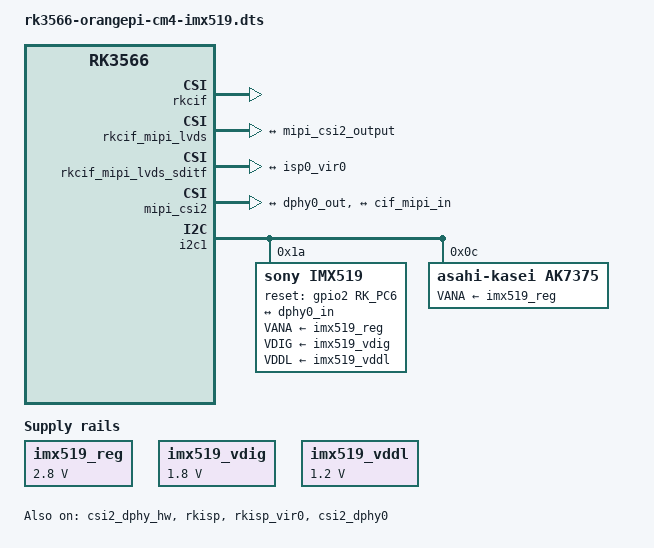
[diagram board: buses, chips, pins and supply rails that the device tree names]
// SPDX-License-Identifier: (GPL-2.0+ OR MIT)
/*
* Copyright (c) 2020 Rockchip Electronics Co., Ltd.
*
*/
/dts-v1/;

#include "rk3566-orangepi-cm4.dtsi"

/ {
    imx519_reg: imx519-reg {
        compatible = "regulator-fixed";
        regulator-name = "imx519_reg";
        regulator-min-microvolt = <2800000>;
        regulator-max-microvolt = <2800000>;
    };

    imx519_vdig: imx519-vdig {
        compatible = "regulator-fixed";
        regulator-name = "imx519_vdig";
        regulator-min-microvolt = <1800000>;
        regulator-max-microvolt = <1800000>;
    };

    imx519_vddl: imx519-vddl {
        compatible = "regulator-fixed";
        regulator-name = "imx519_vddl";
        regulator-min-microvolt = <1200000>;
        regulator-max-microvolt = <1200000>;
    };

};

&csi2_dphy_hw {
    status = "okay";
};

&rkisp {
    status = "okay";
};

&rkisp_mmu {
    status = "okay";
};

&rkisp_vir0 {
	status = "okay";

	port {
		#address-cells = <1>;
		#size-cells = <0>;

		isp0_vir0: endpoint@0 {
			reg = <0>;
			remote-endpoint = <&mipi_lvds_sditf>;
		};
	};
};

&rkcif {
    status = "okay";
};

&rkcif_mmu {
    status = "okay";
};

&rkcif_mipi_lvds {
	status = "okay";

	port {
		cif_mipi_in: endpoint {
			remote-endpoint = <&mipi_csi2_output>;
		};
	};
};

&rkcif_mipi_lvds_sditf {
	status = "okay";

	port {
		mipi_lvds_sditf: endpoint {
			remote-endpoint = <&isp0_vir0>;
		};
	};
};

&mipi_csi2 {
    status = "okay";

    ports {
        #address-cells = <1>;
        #size-cells = <0>;

        port@0 {
            reg = <0>;
            #address-cells = <1>;
            #size-cells = <0>;

            mipi_csi2_input: endpoint@1 {
                reg = <1>;
                remote-endpoint = <&dphy0_out>;
                data-lanes = <1 2>;
            };
        };

        port@1 {
            reg = <1>;
            #address-cells = <1>;
            #size-cells = <0>;

            mipi_csi2_output: endpoint@0 {
                reg = <0>;
                remote-endpoint = <&cif_mipi_in>;
                data-lanes = <1 2>;
            };
        };
    };
};

&csi2_dphy0 {
	status = "okay";
	
	ports {
		#address-cells = <1>;
		#size-cells = <0>;
		
		port@0 {
			reg = <0>;
			#address-cells = <1>;
			#size-cells = <0>;
			
			dphy0_in: endpoint@1 {
				reg = <1>;
				remote-endpoint = <&imx519_out>;
				data-lanes = <1 2>;
			};
		};
		
		port@1 {
			reg = <1>;
			#address-cells = <1>;
			#size-cells = <0>;
			
			dphy0_out: endpoint@1 {
				reg = <1>;
				remote-endpoint = <&mipi_csi2_input>;
			};
		};
	};
};

&i2c1 {
    imx519: imx519@1a {
        compatible = "sony,imx519";
        reg = <0x1a>;
        status = "okay";

        clocks = <&cru CLK_CIF_OUT>;
        clock-names = "xvclk";

        VANA-supply = <&imx519_reg>;	/* 2.8v */
        VDIG-supply = <&imx519_vdig>;	/* 1.8v */
        VDDL-supply = <&imx519_vddl>;	/* 1.2v */

        lens-focus = <&ak7375>;

        rotation = <0>;
        orientation = <0>;

        reset-gpios = <&gpio2 RK_PC6 GPIO_ACTIVE_HIGH>;
        rockchip,camera-module-index = <0>;
		rockchip,camera-module-facing = "back";
		rockchip,camera-module-name = "IMX519";
		rockchip,camera-module-lens-name = "NA";

        port {
			imx519_out: endpoint {
				remote-endpoint = <&dphy0_in>;
                clock-lanes = <0>;
				data-lanes = <1 2>;
				clock-noncontinuous;
				link-frequencies = /bits/ 64 <493500000>;
			};
		};
    };

    ak7375: ak7375@0c {
        compatible = "asahi-kasei,ak7375";
        reg = <0x0c>;
        status = "okay";
        VANA-supply = <&imx519_reg>;	/* 2.8v */
    };
};
